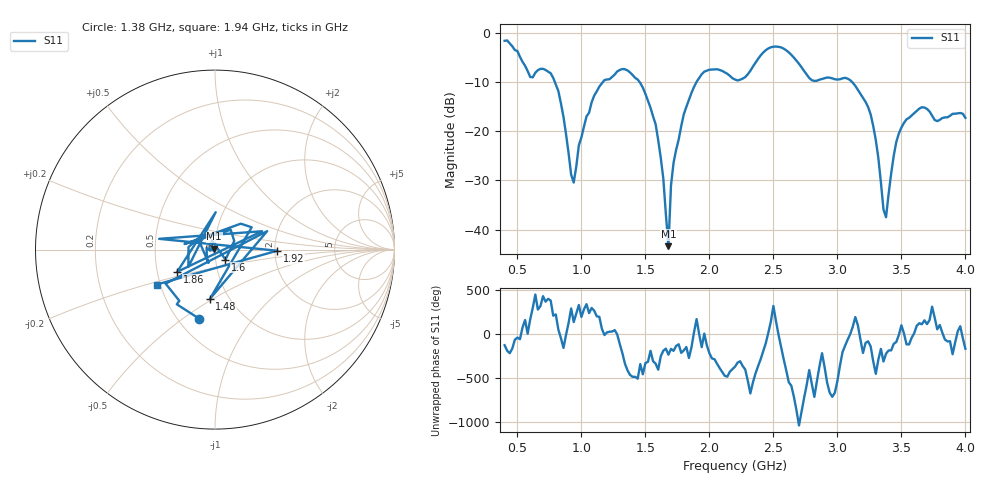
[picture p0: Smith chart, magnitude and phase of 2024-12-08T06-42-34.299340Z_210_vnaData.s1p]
!Created with skrf (http://scikit-rf.org).
# Hz S RI R 50.0
!freq ReS11 ImS11
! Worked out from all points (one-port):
!   181 points, 400 MHz to 4 GHz, reference 50 ohm
!   lowest |S11| = -43.4 dB at 1.68 GHz (marker M1), VSWR 1.01, Z = 49.6 + j0.543 ohm
!   |S11| at or under -10 dB: 792.3 MHz to 1.169 GHz (376.5 MHz wide, 38.4 % of centre); 1.454 GHz to 1.899 GHz (445.8 MHz wide, 26.6 % of centre); 3.114 GHz to end of sweep
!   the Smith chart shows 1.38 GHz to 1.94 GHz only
!   S11 on the Smith chart (normalised r, x): 1.38 GHz: 0.63, -0.58; 1.48 GHz: 0.82, -0.48; 1.6 GHz: 1.12, -0.13; 1.86 GHz: 0.63, -0.17; 1.92 GHz: 2.06, -0.03; 1.94 GHz: 0.48, -0.22
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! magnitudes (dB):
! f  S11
! 400 MHz  -1.6
! 600 MHz  -9.0
! 760 MHz  -8.2
! 860 MHz  -17.1
! 940 MHz  -30.4
! 980 MHz  -22.9
! 1.1 GHz  -12.8
! 1.3 GHz  -7.6
! 1.38 GHz  -8.1
! 1.48 GHz  -11.2
! 1.6 GHz  -21.8
! 1.64 GHz  -29.7
! 1.68 GHz  -43.4
! 1.7 GHz  -31.0
! 1.76 GHz  -21.7
! 1.86 GHz  -12.2
! 1.92 GHz  -9.2
! 1.94 GHz  -8.4
! 2.2 GHz  -9.5
! 2.48 GHz  -3.0
! 2.66 GHz  -5.1
! 2.8 GHz  -9.6
! 3.1 GHz  -9.6
! 3.26 GHz  -16.6
! 3.38 GHz  -37.5
! 3.46 GHz  -22.2
! 3.56 GHz  -17.3
! 4 GHz  -17.3
